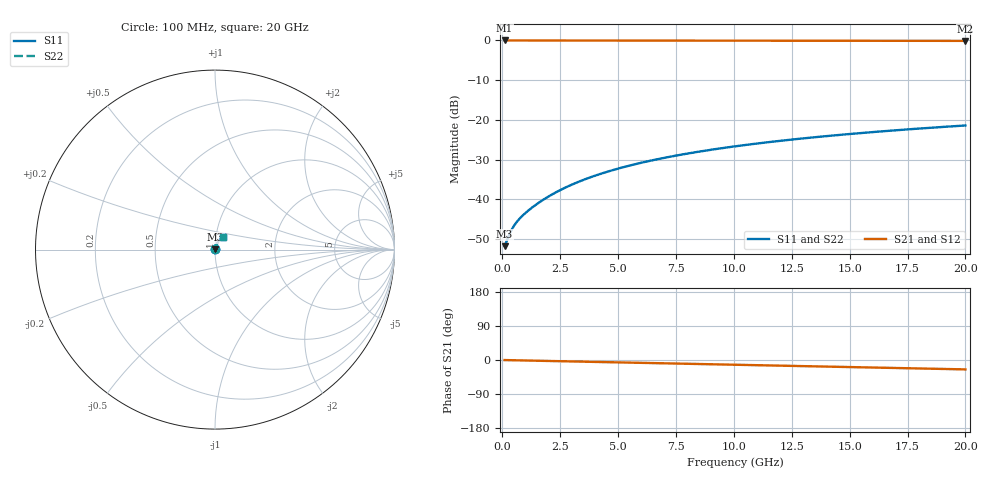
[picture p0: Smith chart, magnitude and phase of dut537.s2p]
! Touchstone file exported from HFSS 2026.1.0
!  File:  C:/ffzhzh/LocalFiles/Ansys_Project_Files/temp_train_TMRDL_537_1783007415_46388.aedt
!  Generated:  11:51:35 PM Jul  2, 2026
!  Design:  TMRDL
!  Project:  temp_train_TMRDL_537_1783007415_46388
! Variables:
!  h_bsmrdl = 2um
!  h_ox = 20um
!  h_rdl = 5um
!  h_sub = 80um
!  h_tmrdl = 2.65um
!  h_tsv = 80um
!  h_via = 3um
!  l_bsmrdl = 300um
!  l_sub = 815.92um
!  l_tmrdl = 415.92um
!  m_sub = 200um
!  pitch = 33.32um
!  r_tsv = 6um
!  s_tmrdl = 10um
!  w_bsmrdl = 18um
!  w_sub = 500um
!  w_tmrdl = 26.51um
!  x_tsv_center1 = 429.175um
!  x_tsv_center2 = 747.175um
!  x_tsv_center3 = 1189.605um
!  x_tsv_center4 = 1507.605um
!  x_tsv_center5 = 1950.035um
!  x_tsv_center6 = 2268.035um
# GHz S MA R 50.000000
! Terminal data exported
! Port[1] = TM_RDL1_1_T1
! Port[2] = TM_RDL1_1_T2
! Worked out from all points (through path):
!   200 points, 100 MHz to 20 GHz, reference 50 ohm
!   highest |S21| = -0.02 dB at 100 MHz (marker M1); lowest = -0.1 dB at 20 GHz (marker M2)
!   group delay of S21, straight-line fit = 3.44 ps
!   lowest |S11| = -51.8 dB at 100 MHz (marker M3), VSWR 1.01, Z = 50.2 + j0.0812 ohm
!   |S11| at or under -10 dB: start of sweep to end of sweep
!   |S22| runs from -51.8 to -21.4 dB; largest |S21 - S12| = 3.6e-15
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0.1  0.00258 18.2  0.9976 -0.1  0.9976 -0.1  0.00258 18.2
! Gamma 0 0 0 0
! Port Impedance 50 0 50 0
0.3  0.003601 37.7  0.9972 -0.4  0.9972 -0.4  0.003601 37.7
0.4  0.00414 41.9  0.9969 -0.6  0.9969 -0.6  0.00414 41.9
0.5  0.004638 44.8  0.9967 -0.7  0.9967 -0.7  0.004637 44.8
0.6  0.005097 47.1  0.9966 -0.8  0.9966 -0.8  0.005096 47.1
0.8  0.005941 50.8  0.9963 -1.1  0.9963 -1.1  0.00594 50.8
1.1  0.007144 55.5  0.9961 -1.4  0.9961 -1.4  0.007143 55.5
1.3  0.00795 58.1  0.996 -1.7  0.996 -1.7  0.007949 58.1
1.6  0.009187 61.4  0.9959 -2.1  0.9959 -2.1  0.009186 61.4
2.2  0.01176 65.9  0.9957 -2.8  0.9957 -2.8  0.01176 65.9
2.8  0.01442 68.5  0.9955 -3.6  0.9955 -3.6  0.01442 68.6
3.5  0.01758 70.3  0.9952 -4.4  0.9952 -4.4  0.01758 70.3
4.2  0.02076 71.2  0.995 -5.3  0.995 -5.3  0.02076 71.2
5  0.02439 71.6  0.9946 -6.3  0.9946 -6.3  0.02439 71.6
5.9  0.02844 71.5  0.9942 -7.5  0.9942 -7.5  0.02844 71.5
6.8  0.03245 71.1  0.9937 -8.6  0.9937 -8.6  0.03245 71.2
8.3  0.03902 70.1  0.9928 -10.4  0.9928 -10.4  0.03902 70.1
10.1  0.04669 68.4  0.9917 -12.7  0.9917 -12.7  0.04668 68.5
11.7  0.05331 66.8  0.9907 -14.6  0.9907 -14.6  0.05331 66.9
13.4  0.06016 65.0  0.9896 -16.7  0.9896 -16.7  0.06015 65.1
16.7  0.07292 61.5  0.9874 -20.8  0.9874 -20.8  0.07291 61.5
20  0.08504 57.9  0.9854 -24.8  0.9854 -24.8  0.08503 58.0
